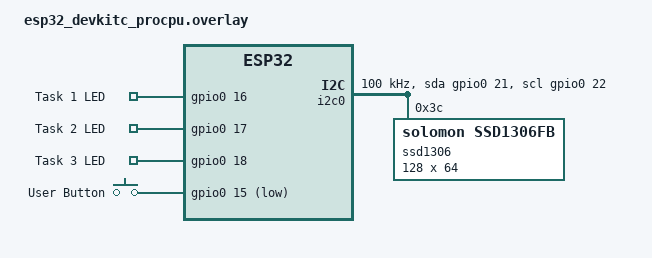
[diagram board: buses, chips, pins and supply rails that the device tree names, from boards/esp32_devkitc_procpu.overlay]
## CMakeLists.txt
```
cmake_minimum_required(VERSION 3.20.0)

find_package(Zephyr REQUIRED HINTS $ENV{ZEPHYR_BASE})
project(tda_app)

zephyr_linker_sources(SECTIONS sections-rom.ld)

target_sources(app PRIVATE src/main.c src/tasks.c src/display.c)
```

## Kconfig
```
mainmenu "TDA App"

config NUM_TASKS
  int "Number of tasks"
  default 4

config TASK1_PERIOD_MS
  int "Period of TASK1" 
  default 10000

config TASK1_EXECUTION_TIME_MS
  int "Period of TASK1" 
  default 1000

config TASK1_RELEASE_MS
  int "Period of TASK1" 
  default 0

config TASK2_PERIOD_MS
  int "Period of TASK2" 
  default 10000

config TASK2_EXECUTION_TIME_MS
  int "Period of TASK2" 
  default 1000

config TASK2_RELEASE_MS
  int "Period of TASK2" 
  default 0

config TASK3_PERIOD_MS
  int "Period of TASK3" 
  default 10000

config TASK3_EXECUTION_TIME_MS
  int "Period of TASK3" 
  default 1000

config TASK3_RELEASE_MS
  int "Period of TASK3" 
  default 0

config TASK4_PERIOD_MS
  int "Period of TASK4" 
  default 10000

config TASK4_EXECUTION_TIME_MS
  int "Period of TASK4" 
  default 1000

config TASK4_RELEASE_MS
  int "Period of TASK4" 
  default 0

config SNOWFLAKES
  int "Number of snowflakes to animate"
  default 40

source "Kconfig.zephyr"
```

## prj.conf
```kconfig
CONFIG_GPIO=y
CONFIG_BOOTLOADER_MCUBOOT=y

CONFIG_DISPLAY=y
CONFIG_CHARACTER_FRAMEBUFFER=y
CONFIG_CBPRINTF_FP_SUPPORT=y

CONFIG_SCHED_DEADLINE=y

# Task Configuration
CONFIG_NUM_TASKS=4

CONFIG_TASK1_PERIOD_MS=5000
CONFIG_TASK1_EXECUTION_TIME_MS=2000
CONFIG_TASK1_RELEASE_MS=0

CONFIG_TASK2_PERIOD_MS=3000
CONFIG_TASK2_EXECUTION_TIME_MS=1000
CONFIG_TASK2_RELEASE_MS=0

CONFIG_TASK3_PERIOD_MS=7000
CONFIG_TASK3_EXECUTION_TIME_MS=2000
CONFIG_TASK3_RELEASE_MS=0

CONFIG_TASK4_PERIOD_MS=7000
CONFIG_TASK4_EXECUTION_TIME_MS=1000
CONFIG_TASK4_RELEASE_MS=0

CONFIG_SNOWFLAKES=40
```

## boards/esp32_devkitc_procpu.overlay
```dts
/ {
    custom_gpio {
        compatible = "gpio-keys";

        task1_led: task1_led {
            gpios = <&gpio0 16 GPIO_ACTIVE_HIGH>;
            label = "Task 1 LED";
        };
        task2_led: task2_led {
            gpios = <&gpio0 17 GPIO_ACTIVE_HIGH>;
            label = "Task 2 LED";
        };
        task3_led: task3_led {
            gpios = <&gpio0 18 GPIO_ACTIVE_HIGH>;
            label = "Task 3 LED";
        };
    };

    buttons {
        compatible = "gpio-keys";

        user_button: user_button {
            gpios = <&gpio0 15 GPIO_ACTIVE_LOW>;
            label = "User Button";
        };
    };

    chosen {
        task1_led = &task1_led;
        task2_led = &task2_led;
        task3_led = &task3_led;
        display = &ssd1306;
    };
};
/* --- I2C0 configuration --- */
&i2c0 {
    status = "okay";
    clock-frequency = <I2C_BITRATE_STANDARD>;
    sda-gpios = <&gpio0 21 GPIO_OPEN_DRAIN>;
    scl-gpios = <&gpio0 22 GPIO_OPEN_DRAIN>;
    pinctrl-0 = <&i2c0_default>;
    pinctrl-names = "default";

    /* SSD1306 128x64 display attached to I2C0 */
    ssd1306: ssd1306@3c {
        compatible = "solomon,ssd1306fb";
        reg = <0x3c>;
        width = <128>;
        height = <64>;
        segment-offset = <0>;
        page-offset = <0>;
        display-offset = <0>;
        multiplex-ratio = <63>;
        segment-remap;
        com-invdir;
        /* REMOVE com-sequential for 128x64 displays */
        prechargep = <0x22>;
        
        status = "okay";
    };
};
```

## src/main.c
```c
#include <zephyr/kernel.h>

#include "tasks.h"
K_THREAD_STACK_ARRAY_DEFINE(task_stacks, CONFIG_NUM_TASKS, STACKSIZE);

PERIODIC_TASK_SETUP(1);
PERIODIC_TASK_SETUP(2);
PERIODIC_TASK_SETUP(3);
DEFERRABLE_SERVER_SETUP(4);

int main()
{
	/* Compared to the previous exercises, we now utilize slightly more advanced iterable
	 * sections that simplify task initialization. For more information, please refer to
	 *  - https://docs.zephyrproject.org/latest/kernel/iterable_sections/index.html
	 *  - https://docs.zephyrproject.org/latest/doxygen/html/group__iterable__section__apis.html
	 */
	STRUCT_SECTION_FOREACH(task_params, params) {
		if (params->type == DEFERRABLE_SERVER || acceptance_test(params)) {
			k_thread_create(params->thread, task_stacks[params->task_id], STACKSIZE,
					params->func, params, NULL, NULL, params->priority, 0,
					K_NO_WAIT);
		}
	}

	start_time_keeper();

	return 0;
}
```

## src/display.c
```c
#include "display.h"
#include <zephyr/device.h>
#include <zephyr/drivers/display.h>
#include <zephyr/kernel.h>

#include <zephyr/display/cfb.h>
#include <zephyr/drivers/display.h>
#include <stdlib.h>

#define SSD1306 DT_CHOSEN(display)
static const struct device *dev = DEVICE_DT_GET(SSD1306);
static const uint32_t display_width = DT_PROP(SSD1306, width);
static const uint32_t display_height = DT_PROP(SSD1306, height);

int ssd1306_setup(void)
{
	if (!device_is_ready(dev)) {
		printf("ERROR: Display device not ready");
		return -EIO;
	}

	if (display_set_pixel_format(dev, PIXEL_FORMAT_MONO01)) {
		printf("ERROR: Failed to set required pixel format");
		return -EIO;
	}

	if (display_blanking_off(dev)) {
		printf("ERROR: Failed to turn off display blanking");
		return -EIO;
	}

	if (cfb_framebuffer_init(dev)) {
		printf("ERROR: Failed to initialize character framebuffer");
		return -EIO;
	}
	cfb_framebuffer_invert(dev);
	cfb_framebuffer_clear(dev, true);
	return 0;
}
SYS_INIT(ssd1306_setup, APPLICATION, CONFIG_KERNEL_INIT_PRIORITY_DEVICE);

/* @brief Draw bitmap
 *
 * @param dev	  pointer to device structure for driver instance
 * @param bitmap  bitmap of size 128x64
 *
 * @return 0 on success, negative value otherwise
 */
int cfb_draw_bitmap(const struct device *dev, const unsigned char *bitmap)
{
	struct cfb_position pos;
	uint16_t byteWidth = display_width / 8;
	for (pos.y = 0; pos.y < display_height; pos.y++) {
		for (pos.x = 0; pos.x < display_width; pos.x++) {
			if (bitmap[pos.y * byteWidth + pos.x / 8] & (128 >> (pos.x & 7))) {
				cfb_draw_point(dev, &pos);
			}
		}
	}

	return 0;
}

/* @brief Display snowman bitmap and CONFIG_SNOWFLAKES randomly generated snowflakes
 *
 * For some reason, the SSD1306 display does not always respond, which is often
 * because it was not correctly initialized. While unsatisfactory, the simplest
 * approach seems to be to restart the ESP or to reconnect the USB cable.
 */
void ssd1306_print_aperiodic_task()
{
	if (!device_is_ready(dev)) {
		printf("ERROR: Display device not ready");
		printf("Check your wiring or try reconnecting your USB cable");
		return;
	}

	cfb_framebuffer_clear(dev, false);
	cfb_draw_bitmap(dev, snowman_bitmap);

	struct cfb_position pos;
	for (int i = 0; i < CONFIG_SNOWFLAKES; i++) {
		pos.x = rand() % display_width;
		pos.y = rand() % display_height;
		cfb_draw_point(dev, &pos);
	}
	cfb_framebuffer_finalize(dev);
}
```

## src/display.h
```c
#pragma once

#include <zephyr/device.h>
#include <zephyr/drivers/display.h>
#include <zephyr/kernel.h>

/* @brief Draw bitmap
 *
 * @param dev	  pointer to device structure for driver instance
 * @param bitmap  bitmap of size 128x64
 *
 * @return 0 on success, negative value otherwise
 */
int cfb_draw_bitmap(const struct device *dev, const unsigned char *bitmap);

/* @brief Display snowman bitmap and CONFIG_SNOWFLAKES randomly generated snowflakes
 *
 * For some reason, the SSD1306 display does not always respond, which is often
 * because it was not correctly initialized. While unsatisfactory, the simplest
 * approach seems to be to restart the ESP or to reconnect the USB cable.
 */
void ssd1306_print_aperiodic_task();

static const unsigned char snowman_bitmap[] = {
	0x00, 0x00, 0x00, 0x00, 0x00, 0x00, 0x00, 0x00, 0x00, 0x00, 0x00, 0x00, 0x00, 0x00, 0x00,
	0x00, 0x00, 0x00, 0x00, 0x00, 0x00, 0x00, 0x00, 0x00, 0x00, 0x00, 0x00, 0x00, 0x00, 0x00,
	0x00, 0x00, 0x00, 0x07, 0x00, 0x00, 0x00, 0x00, 0x00, 0x00, 0x00, 0x00, 0x00, 0x00, 0x00,
	0x00, 0x00, 0x00, 0x00, 0x0c, 0xc0, 0x00, 0x00, 0x00, 0x00, 0x00, 0x00, 0x00, 0x00, 0x00,
	0x00, 0x00, 0x00, 0x00, 0x00, 0x08, 0x40, 0x00, 0x00, 0x00, 0x00, 0x00, 0x00, 0x00, 0x00,
	0x00, 0x00, 0x00, 0x00, 0x00, 0x00, 0x08, 0x70, 0x00, 0x00, 0x00, 0x00, 0x00, 0x00, 0x00,
	0x00, 0x00, 0x00, 0x00, 0x00, 0x00, 0x00, 0x08, 0x4f, 0xc0, 0x00, 0x00, 0x00, 0x00, 0x00,
	0x00, 0x00, 0x00, 0x00, 0x00, 0x00, 0x00, 0x00, 0x0c, 0xc0, 0x30, 0x00, 0x00, 0x00, 0x00,
	0x00, 0x00, 0x00, 0x00, 0x00, 0x00, 0x00, 0x00, 0x00, 0x07, 0x00, 0x3e, 0x00, 0x00, 0x00,
	0x00, 0x00, 0x00, 0x00, 0x00, 0x00, 0x00, 0x00, 0x00, 0x00, 0x01, 0x83, 0xc1, 0x80, 0x00,
	0x00, 0x00, 0x00, 0x00, 0x00, 0x00, 0x00, 0x00, 0x00, 0x00, 0x00, 0x00, 0x86, 0x00, 0xc0,
	0x00, 0x00, 0x00, 0x00, 0x00, 0x00, 0x00, 0x00, 0x00, 0x00, 0x00, 0x00, 0x01, 0x98, 0x00,
	0x40, 0x00, 0x00, 0x00, 0x00, 0x00, 0x00, 0x00, 0x00, 0x00, 0x00, 0x00, 0x00, 0x01, 0x20,
	0x00, 0x20, 0x00, 0x00, 0x00, 0xfb, 0xf0, 0x00, 0x00, 0x00, 0x00, 0x00, 0x00, 0x00, 0x01,
	0x40, 0x3e, 0x20, 0x00, 0x00, 0x00, 0x70, 0xc0, 0x00, 0x00, 0x00, 0x00, 0x00, 0x00, 0x00,
	0x01, 0x81, 0xe1, 0xe0, 0x00, 0x00, 0x00, 0x70, 0xc0, 0x00, 0x00, 0x00, 0x00, 0x00, 0x00,
	0x00, 0x01, 0x06, 0x00, 0x60, 0x00, 0x00, 0x00, 0x70, 0xc3, 0xc3, 0xb9, 0xec, 0x79, 0x80,
	0x00, 0x00, 0x01, 0x0c, 0xc2, 0x20, 0x00, 0x00, 0x00, 0x70, 0xc4, 0x71, 0xdc, 0xe7, 0x31,
	0x00, 0x00, 0x00, 0x01, 0x11, 0xc3, 0x30, 0x00, 0x00, 0x00, 0x7f, 0xc0, 0x31, 0x8c, 0xe7,
	0x39, 0x00, 0x00, 0x00, 0x03, 0x30, 0xc2, 0x10, 0x00, 0x00, 0x00, 0x70, 0xc3, 0xf1, 0x8e,
	0xe3, 0x39, 0x00, 0x00, 0x00, 0x01, 0x20, 0x1f, 0xf8, 0x00, 0x00, 0x00, 0x70, 0xc6, 0x31,
	0x8e, 0xe3, 0x1a, 0x00, 0x00, 0x00, 0x01, 0x40, 0x10, 0x70, 0x00, 0x00, 0x00, 0x70, 0xc6,
	0x31, 0x8c, 0xe7, 0x1e, 0x00, 0x00, 0x00, 0x01, 0xc0, 0x11, 0x90, 0x00, 0x00, 0x00, 0x70,
	0xc7, 0x71, 0xdc, 0xe7, 0x0c, 0x00, 0x00, 0x00, 0x00, 0xc1, 0x1e, 0x10, 0x00, 0x00, 0x00,
	0xfb, 0xf3, 0xb9, 0xb8, 0xec, 0x0c, 0x00, 0x00, 0x00, 0x00, 0x41, 0x80, 0x10, 0x00, 0x00,
	0x00, 0x00, 0x00, 0x01, 0x80, 0xe0, 0x04, 0x00, 0x00, 0x00, 0x00, 0x60, 0xc3, 0x10, 0x00,
	0x00, 0x00, 0x00, 0x00, 0x01, 0x80, 0xe0, 0x08, 0x00, 0x00, 0x00, 0x00, 0x20, 0x3e, 0x20,
	0x00, 0x00, 0x00, 0x00, 0x00, 0x03, 0xc1, 0xf0, 0x30, 0x00, 0x00, 0x00, 0x00, 0x30, 0x00,
	0x70, 0x00, 0x00, 0x00, 0x00, 0x00, 0x00, 0x00, 0x00, 0x00, 0x00, 0x00, 0x00, 0x00, 0x4c,
	0x01, 0x90, 0x00, 0x00, 0x00, 0x00, 0x00, 0x00, 0x00, 0x00, 0x00, 0x00, 0x00, 0x00, 0x00,
	0x43, 0xff, 0x30, 0x00, 0x00, 0x00, 0x00, 0x00, 0x00, 0x00, 0x00, 0x00, 0x00, 0x00, 0x00,
	0x00, 0x40, 0x00, 0x20, 0x00, 0x00, 0x00, 0x00, 0x00, 0x00, 0x00, 0x00, 0x00, 0x00, 0x00,
	0x00, 0x00, 0x40, 0x00, 0x10, 0x44, 0x00, 0x00, 0x00, 0x38, 0xc0, 0x78, 0x00, 0x00, 0x00,
	0x00, 0x00, 0x64, 0x40, 0x00, 0x30, 0x5e, 0x0f, 0xbe, 0x00, 0x18, 0xe0, 0x38, 0x00, 0x00,
	0x00, 0x60, 0x00, 0x34, 0x7f, 0x07, 0xe0, 0x62, 0x07, 0x0c, 0x00, 0x18, 0x40, 0x38, 0x00,
	0x00, 0x00, 0x60, 0x00, 0xcc, 0x60, 0x76, 0x10, 0xc0, 0x07, 0x0c, 0x00, 0x18, 0x00, 0x38,
	0x00, 0x00, 0x00, 0x60, 0x00, 0x06, 0x80, 0x23, 0x0b, 0x00, 0x07, 0x0c, 0x33, 0x19, 0xe3,
	0xf9, 0x99, 0xe6, 0xcc, 0x60, 0x00, 0x01, 0x80, 0x11, 0x86, 0x00, 0x07, 0xfc, 0x73, 0x98,
	0xe7, 0x38, 0x18, 0xc4, 0xc4, 0x60, 0x00, 0x02, 0xc0, 0x11, 0x82, 0x00, 0x07, 0x0c, 0x63,
	0x98, 0xe6, 0x38, 0xfc, 0xe4, 0xf0, 0x20, 0x00, 0x06, 0x60, 0x08, 0x83, 0x00, 0x07, 0x0c,
	0x63, 0x98, 0xe6, 0x39, 0x9c, 0x68, 0x7c, 0x20, 0x00, 0x04, 0x00, 0x08, 0x81, 0x00, 0x07,
	0x0c, 0x63, 0x98, 0xe6, 0x39, 0x9c, 0x78, 0x1c, 0x00, 0x00, 0x04, 0x00, 0x08, 0xc1, 0x80,
	0x07, 0x0c, 0x73, 0x18, 0xe7, 0x39, 0x9c, 0x38, 0x8c, 0x60, 0x00, 0x08, 0x00, 0x08, 0x40,
	0x80, 0x0f, 0xbf, 0x3e, 0x3d, 0xf3, 0xfd, 0xfe, 0x30, 0xfc, 0x60, 0x00, 0x08, 0x00, 0x0c,
	0x60, 0x80, 0x00, 0x00, 0x00, 0x00, 0x00, 0x00, 0x00, 0x30, 0x00, 0x00, 0x00, 0x08, 0x00,
	0x0c, 0x70, 0x80, 0x00, 0x00, 0x00, 0x00, 0x00, 0x00, 0x00, 0x20, 0x00, 0x00, 0x00, 0x08,
	0x00, 0x0c, 0x60, 0xc0, 0x00, 0x00, 0x00, 0x00, 0x00, 0x00, 0x00, 0xe0, 0x00, 0x00, 0x00,
	0x08, 0x00, 0x08, 0x40, 0x40, 0x00, 0x00, 0x00, 0x00, 0x00, 0x00, 0x00, 0x00, 0x00, 0x00,
	0x00, 0x08, 0x00, 0x0f, 0xc0, 0x40, 0x00, 0x00, 0x00, 0x00, 0x00, 0x00, 0x00, 0x00, 0x00,
	0x00, 0x00, 0x08, 0x00, 0x00, 0x00, 0xc0, 0x00, 0x00, 0x00, 0x00, 0x00, 0x00, 0x00, 0x00,
	0x00, 0x00, 0x00, 0x08, 0x00, 0x00, 0x00, 0x80, 0x00, 0x00, 0x00, 0x00, 0x00, 0x00, 0x00,
	0x00, 0x00, 0x00, 0x00, 0x08, 0x00, 0x00, 0x00, 0x80, 0x00, 0x00, 0x00, 0x00, 0x00, 0x00,
	0x00, 0x00, 0x00, 0x00, 0x00, 0x08, 0x00, 0x00, 0x60, 0x80, 0x00, 0x00, 0x00, 0x00, 0x00,
	0x00, 0x00, 0x00, 0x00, 0x00, 0x00, 0x04, 0x00, 0x00, 0xe1, 0x80, 0x00, 0x00, 0x00, 0x00,
	0x00, 0x00, 0x00, 0x00, 0x00, 0x00, 0x00, 0x04, 0x00, 0x00, 0x41, 0x00, 0x00, 0x00, 0x00,
	0x00, 0x00, 0x00, 0x00, 0x00, 0x00, 0x00, 0x00, 0x06, 0x00, 0x00, 0x03, 0x00, 0x00, 0x00,
	0x00, 0x00, 0x00, 0x00, 0x00, 0x00, 0x00, 0x00, 0x00, 0x02, 0x00, 0x00, 0x02, 0x00, 0x00,
	0x00, 0x00, 0x00, 0x00, 0x00, 0x00, 0x00, 0x00, 0x00, 0x00, 0x01, 0x00, 0x00, 0x04, 0x00,
	0x00, 0x00, 0x00, 0x00, 0x00, 0x00, 0x00, 0x00, 0x00, 0x00, 0x00, 0x00, 0x80, 0x00, 0x08,
	0x00, 0x00, 0x00, 0x00, 0x00, 0x00, 0x00, 0x00, 0x00, 0x00, 0x00, 0x00, 0x00, 0x60, 0x00,
	0x10, 0x00, 0x00, 0x00, 0x00, 0x00, 0x00, 0x00, 0x00, 0x00, 0x00, 0x00, 0x00, 0x00, 0x30,
	0x00, 0x60, 0x00, 0x00, 0x00, 0x00, 0x00, 0x00, 0x00, 0x00, 0x00, 0x00, 0x00, 0x00, 0x00,
	0x0e, 0x03, 0x80, 0x00, 0x00, 0x00, 0x00, 0x00, 0x00, 0x00, 0x00, 0x00, 0x00, 0x00, 0x00,
	0x00, 0x03, 0xfe, 0x00, 0x00, 0x00, 0x00, 0x00, 0x00, 0x00, 0x00, 0x00, 0x00, 0x00, 0x00,
	0x00, 0x00, 0x00, 0x00, 0x00, 0x00, 0x00, 0x00, 0x00, 0x00, 0x00, 0x00, 0x00, 0x00, 0x00,
	0x00, 0x00, 0x00, 0x00, 0x00, 0x00, 0x00, 0x00, 0x00, 0x00, 0x00, 0x00, 0x00, 0x00, 0x00,
	0x00, 0x00, 0x00, 0x00, 0x00, 0x00, 0x00, 0x00, 0x00, 0x00, 0x00, 0x00, 0x00, 0x00, 0x00,
	0x00, 0x00, 0x00, 0x00, 0x00, 0x00, 0x00, 0x00, 0x00, 0x00, 0x00, 0x00, 0x00, 0x00, 0x00,
	0x00, 0x00, 0x00, 0x00};
```

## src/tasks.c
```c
//Team members:  Gopalapillai Balagopal, Kattalaparambi Binesh Neha, Vaitheeswaran Kirthika and Verma, Riya
#include <assert.h>
#include <stdio.h>
#include <zephyr/kernel.h>
#include <zephyr/device.h>
#include <zephyr/drivers/gpio.h>

#include "display.h"
#include "tasks.h"

/* ---------- Part (b): Global variables ---------- */
static struct k_sem aperiodic_sem;

#define USER_BUTTON_NODE DT_NODELABEL(user_button)
static const struct gpio_dt_spec button = GPIO_DT_SPEC_GET(USER_BUTTON_NODE, gpios);
static struct gpio_callback button_cb;

/**
 * @brief Let LED blink for (roughly) delay_ms.
 *
 * @param params    Task parameters
 */
void useless_load_periodic_tasks(struct task_params *params)
{
	assert(params->execution_time_ms % BLINK_PERIOD_MS == 0 && BLINK_PERIOD_MS % 2 == 0);

	// Lock scheduler to avoid time sharing if the deadline of two or multiple tasks is equal
	k_sched_lock();
	for (int32_t d = 0; d < params->execution_time_ms; d += BLINK_PERIOD_MS) {
		printf(" Task %d with deadline %d\n", params->task_id,
		       params->thread->base.prio_deadline);
		gpio_pin_set_dt(params->led, 1);
		k_busy_wait(BLINK_PERIOD_MS * 1000 / 2);
		gpio_pin_set_dt(params->led, 0);
		k_busy_wait(BLINK_PERIOD_MS * 1000 / 2);
	}
	k_sched_unlock();
}

/**
 * @brief Show animation on SSD1306 for one second
 */
void useless_load_aperiodic_tasks()
{
	k_sched_lock();
	for (int32_t d = 0; d < MSEC_PER_SEC; d += BLINK_PERIOD_MS) {
		printf(" Aperiodic task\n");
		ssd1306_print_aperiodic_task();
		k_busy_wait(BLINK_PERIOD_MS * 1000);
	}
	k_sched_unlock();
}

/**
 * @brief Simplified version of z_impl_k_thread_deadline_set
 *
 * Unfortunately, z_impl_k_thread_deadline_set relies on deadlines
 * relative to the CPU cycle counter, while casting the result in
 * int32_t. For our dummy tasks, with periods and latencies in the
 * range of multiple seconds, this will result in frequent overflows
 * that breaks EDF as a consequence.
 *
 * @param thread    thread handle
 * @param deadline  thread deadline in milliseconds
 */
void thread_deadline_set(struct k_thread *thread, int deadline)
{
	/* TODO (Part a): Write a simplified version of z_impl_k_thread_deadline_set
	 * that specified the deadline in milliseconds rather than
	 * in CPU cycle counts.
	 * Hint: You can use k_yield() after updating the deadline
	 * to dequeue the thread from the ready queue. */
	
	thread->base.prio_deadline = deadline;
	k_yield();
}

/**
 * @brief System density test for periodic tasks
 *
 * @params params task specification
 */
bool acceptance_test(struct task_params *params)
{
	static bool acceptance_test_results[CONFIG_NUM_TASKS];

	/* TODO (Part a): The system density test should account for the deferrable server (DS).
	 * That is, we assume the DS is always accepted and the acceptance is solely performed for
	 * periodic tasks. Moreover the acceptance test is called iteratively (see main.c), meaning
	 * that Task i must only account for the previously accepted tasks.
	 *
	 * Your solution should
	 *  - use STRUCT_SECTION_FOREACH for retrieving the task specification of all other tasks
	 *    (see main.c for reference)
	 *  - store the acceptance test result in *acceptance_test_results*
	 * */
	
	int32_t periodic_density = 0;   /* Σ ek / min(dk, pk) */
	int32_t ds_density = 0;         /* u_s (1 + (ps − es) / di) */
	int32_t us = 0;                 /* u_s = es / ps */

	struct task_params *ds = NULL;

	if (params->type == DEFERRABLE_SERVER) {
		acceptance_test_results[params->task_id - 1] = true;
		return true;
	}
	STRUCT_SECTION_FOREACH(task_params, p) {
		if (p->type == DEFERRABLE_SERVER) {
			ds = p;
			break;
		}
	}

	if (ds == NULL) {
		return false;
	}

	us = (ds->execution_time_ms * 1000) / ds->period_ms;


	STRUCT_SECTION_FOREACH(task_params, p) {

		if (p->type != PERIODIC_TASK) {
			continue;
		}

		if (p->task_id > params->task_id) {
			continue;
		}

		if (p->task_id < params->task_id &&
		    !acceptance_test_results[p->task_id - 1]) {
			continue;
		}

		periodic_density +=
			(p->execution_time_ms * 1000) / p->period_ms;
	}

	ds_density =
		us * (1000 +
		      ((ds->period_ms - ds->execution_time_ms) * 1000)
		      / params->period_ms) / 1000;

	bool accepted =(periodic_density + ds_density) <= 1000;
	acceptance_test_results[params->task_id - 1] = accepted;
	return accepted;
}

/**
 * @brief Dummy task implementation that toggles LED
 */
void periodic_task_implementation(void *p0, void *p1, void *p2)
{
	struct task_params *params = (struct task_params *)p0;

	if (!gpio_is_ready_dt(params->led)) {
		return;
	}
	int ret = gpio_pin_configure_dt(params->led, GPIO_OUTPUT_ACTIVE);
	if (ret < 0) {
		return;
	}

	k_timer_start(params->timer, K_NO_WAIT, K_MSEC(params->period_ms));
	for (int32_t i = 1;; i++) {
		k_timer_status_sync(params->timer);
		thread_deadline_set(params->thread, i * params->period_ms);
		useless_load_periodic_tasks(params);
	}
}

/* TODO (Part b): Configure the button in the DTS overlay and initialize the GPIO driver here.
 * The goal is to release an aperiodic job whenever the button is pressed and to use the deferrable
 * server (as introduced in the lecture) to schedule them. To this end, you have to complete
 * the implementation of
 *  - button_press_callback
 *  - init_button_gpio
 *  - deferrable_server_implementation
 * */

void button_press_callback(const struct device *dev,
			   struct gpio_callback *cb,
			   uint32_t pins)
{
	/* Utilize a suitable synchronization primitive to let the DS know that
	 * the button was pressed. Note that
	 *  - Interrupt service routines (ISRs) are very different from normal threads and many
	 *    kernel APIs behave differently when called from an ISR or from a thread. The
	 *    implementation of this ISR should therefore be as lightweight as possible. For more
	 *    information, see https://docs.zephyrproject.org/latest/kernel/services/interrupts.html
	 *  - Deferrable servers are supposed to yield their execution to the scheduler if there
	 *    are no asynchronous jobs available. Thus, your synchronization primitive must not
	 *    result in busy waiting that may start periodic tasks.
	 * */
	
	ARG_UNUSED(dev);
	ARG_UNUSED(cb);
	ARG_UNUSED(pins);

	k_sem_give(&aperiodic_sem);
}

int init_button_gpio()
{
	/* TODO: Initialize the GPIO pin to trigger a callback to *button_press_callback* whenever
	 *the button is pressed. For reference, you may want to have a look at:
	 *https://docs.zephyrproject.org/latest/samples/basic/button/README.html */
	
	if (!device_is_ready(button.port)) {
		return -1;
	}

	int ret = gpio_pin_configure_dt(&button, GPIO_INPUT | GPIO_PULL_UP);
	if (ret < 0) {
		return ret;
	}

	ret = gpio_pin_interrupt_configure_dt(&button, GPIO_INT_EDGE_TO_ACTIVE);
	if (ret < 0) {
		return ret;
	}

	gpio_init_callback(&button_cb, button_press_callback, BIT(button.pin));
	gpio_add_callback(button.port, &button_cb);

	k_sem_init(&aperiodic_sem, 0, 1);

	return 0;
}

void deferrable_server_implementation(void *p0, void *p1, void *p2)
{
	struct task_params *params = (struct task_params *)p0;

	/* TODO: Implement a deferrable server that replenishes periodically, but
	 * that does not accumulate its budget over multiple cycles. For simplicity,
	 * you may assume the following:
	 *  - Every aperiodic job is identical and wants to run *useless_load_aperiodic_tasks()*
	 *  - The budget of the DS is equal to the budget of one aperiodic job per period
	 * As a starting point, you can likely reuse parts of *periodic_task_implementation*.
	 * */
	
	int32_t budget_ms;

	if (init_button_gpio() < 0) {
		return;
	}

	k_timer_start(params->timer, K_NO_WAIT, K_MSEC(params->period_ms));

	for (int32_t i = 1;; i++) {
		k_timer_status_sync(params->timer);

		thread_deadline_set(params->thread, i * params->period_ms);

		budget_ms = params->execution_time_ms;

		while (budget_ms >= MSEC_PER_SEC) {
			if (k_sem_take(&aperiodic_sem, K_NO_WAIT) == 0) {
				useless_load_aperiodic_tasks();
				budget_ms -= MSEC_PER_SEC;
			} else {
				break;
			}
		}

		k_yield();
	}
}

/**
 * @brief Prints current time in seconds
 */
void print_time()
{
	static int time_sec = 0;
	printf("T = %ds:\n", time_sec);
	time_sec++;
}
K_TIMER_DEFINE(time_keeper, print_time, NULL);

/**
 * @brief Initializes periodic timer interrupt to print time in seconds
 */
void start_time_keeper(void)
{
	k_timer_start(&time_keeper, K_NO_WAIT, K_MSEC(1000));
}
```

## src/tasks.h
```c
#pragma once

#include <zephyr/drivers/gpio.h>
#include <zephyr/kernel.h>

#define STACKSIZE       1024
#define BLINK_PERIOD_MS 250

typedef void task_func(void *p0, void *p1, void *p2);

enum task_type {
	PERIODIC_TASK,
	DEFERRABLE_SERVER,
};

struct task_params {
	// task specification
	int task_id;
	enum task_type type;
	int priority;
	int32_t execution_time_ms;
	int32_t period_ms;
	// optional LED (only specified for periodic tasks)
	const struct gpio_dt_spec *led;
	// helper field
	task_func *func;
	struct k_timer *timer;
	struct k_thread *thread;
};

/**
 * @brief System density test for periodic tasks
 *
 * TODO: The system density test should account for the deferrable server (DS). That is, we assume
 * the DS is always accepted and the acceptance is solely performed for periodic tasks. Moreover the
 * acceptance test is called iteratively (see main.c), meaning that Task i must only account for the
 * previously accepted tasks.
 *
 * @params params task specification
 */
bool acceptance_test(struct task_params *params);

/**
 * @brief Dummy task implementation that toggles LED
 */
void periodic_task_implementation(void *params, void *p1, void *p2);

/**
 * @brief Deferrable server implementation
 */
void deferrable_server_implementation(void *params, void *p1, void *p2);

/**
 * @brief Initializes periodic timer interrupt to print time in seconds
 */
void start_time_keeper(void);

/**
 * @brief Macro for initializing tasks.
 */
#define PERIODIC_TASK_SETUP(n)                                                                     \
	struct k_thread task##n##_thread;                                                          \
	static const struct gpio_dt_spec task##n##_led =                                           \
		GPIO_DT_SPEC_GET_OR(DT_CHOSEN(task##n##_led), gpios, {0});                         \
	K_TIMER_DEFINE(task##n##_timer, NULL, NULL);                                               \
	static const STRUCT_SECTION_ITERABLE(task_params, task##n##_params) = {                    \
		.task_id = n,                                                                      \
		.type = PERIODIC_TASK,                                                             \
		.priority = CONFIG_MAIN_THREAD_PRIORITY,                                           \
		.execution_time_ms = CONFIG_TASK##n##_EXECUTION_TIME_MS,                           \
		.period_ms = CONFIG_TASK##n##_PERIOD_MS,                                           \
		.led = &task##n##_led,                                                             \
		.func = periodic_task_implementation,                                              \
		.timer = &task##n##_timer,                                                         \
		.thread = &task##n##_thread,                                                       \
	};

#define DEFERRABLE_SERVER_SETUP(n)                                                                 \
	struct k_thread task##n##_thread;                                                          \
	static const struct gpio_dt_spec task##n##_led =                                           \
		GPIO_DT_SPEC_GET_OR(DT_CHOSEN(task##n##_led), gpios, {0});                         \
	K_TIMER_DEFINE(task##n##_timer, NULL, NULL);                                               \
	static const STRUCT_SECTION_ITERABLE(task_params, task##n##_params) = {                    \
		.task_id = n,                                                                      \
		.type = DEFERRABLE_SERVER,                                                         \
		.priority = CONFIG_MAIN_THREAD_PRIORITY,                                           \
		.execution_time_ms = CONFIG_TASK##n##_EXECUTION_TIME_MS,                           \
		.period_ms = CONFIG_TASK##n##_PERIOD_MS,                                           \
		.led = &task##n##_led,                                                             \
		.func = deferrable_server_implementation,                                          \
		.timer = &task##n##_timer,                                                         \
		.thread = &task##n##_thread,                                                       \
	};
```
